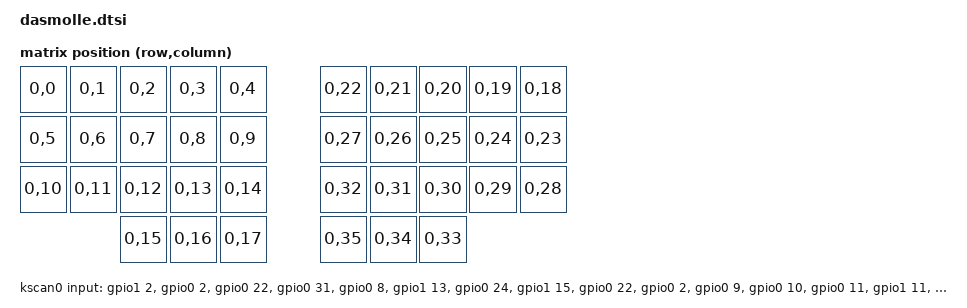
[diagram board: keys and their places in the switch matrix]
#include <dt-bindings/zmk/matrix_transform.h>

/ {

	chosen {
		zmk,kscan = &kscan0;
		zmk,matrix_transform = &default_transform;
	};

	default_transform: keymap_transform_0 {
		compatible = "zmk,matrix-transform";
		columns = <36>;
		rows = <1>;
		map = <
		RC(0,0)  RC(0,1)  RC(0,2)  RC(0,3)  RC(0,4)    RC(0,22) RC(0,21) RC(0,20) RC(0,19) RC(0,18) 
		RC(0,5)  RC(0,6)  RC(0,7)  RC(0,8)  RC(0,9)    RC(0,27) RC(0,26) RC(0,25) RC(0,24) RC(0,23) 
		RC(0,10) RC(0,11) RC(0,12) RC(0,13) RC(0,14)   RC(0,32) RC(0,31) RC(0,30) RC(0,29) RC(0,28) 
		                  RC(0,15) RC(0,16) RC(0,17)   RC(0,35) RC(0,34) RC(0,33)
		>;
	};

	// kscan0: kscan {
	// 	compatible = "zmk,kscan-gpio-direct";
	// 	label = "KSCAN";
	// 	input-gpios
	// 	= <&pro_micro  7 (GPIO_ACTIVE_LOW | GPIO_PULL_UP)>
	// 	, <&pro_micro 18 (GPIO_ACTIVE_LOW | GPIO_PULL_UP)>
	// 	, <&pro_micro 19 (GPIO_ACTIVE_LOW | GPIO_PULL_UP)>
	// 	, <&pro_micro 20 (GPIO_ACTIVE_LOW | GPIO_PULL_UP)>
	// 	, <&pro_micro 21 (GPIO_ACTIVE_LOW | GPIO_PULL_UP)>
	// 	, <&pro_micro 15 (GPIO_ACTIVE_LOW | GPIO_PULL_UP)>
	// 	, <&pro_micro 14 (GPIO_ACTIVE_LOW | GPIO_PULL_UP)>
	// 	, <&pro_micro 16 (GPIO_ACTIVE_LOW | GPIO_PULL_UP)>
	// 	, <&pro_micro 10 (GPIO_ACTIVE_LOW | GPIO_PULL_UP)>
	// 	, <&pro_micro  1 (GPIO_ACTIVE_LOW | GPIO_PULL_UP)>
	// 	, <&pro_micro  2 (GPIO_ACTIVE_LOW | GPIO_PULL_UP)>
	// 	, <&pro_micro  3 (GPIO_ACTIVE_LOW | GPIO_PULL_UP)>
	// 	, <&pro_micro  4 (GPIO_ACTIVE_LOW | GPIO_PULL_UP)>
	// 	, <&pro_micro  5 (GPIO_ACTIVE_LOW | GPIO_PULL_UP)>
	// 	, <&pro_micro  6 (GPIO_ACTIVE_LOW | GPIO_PULL_UP)>
	// 	, <&pro_micro  8 (GPIO_ACTIVE_LOW | GPIO_PULL_UP)>
	// 	, <&pro_micro  9 (GPIO_ACTIVE_LOW | GPIO_PULL_UP)>
	// 	;
	// };

  kscan0: kscan {
      compatible = "zmk,kscan-gpio-direct";
      label = "KSCAN";
      input-gpios = <
        /* Row 0 */
        &gpio1  2 (GPIO_ACTIVE_LOW | GPIO_PULL_UP)
        &gpio0  2 (GPIO_ACTIVE_LOW | GPIO_PULL_UP)
        &gpio0 22 (GPIO_ACTIVE_LOW | GPIO_PULL_UP)
        &gpio0 31 (GPIO_ACTIVE_LOW | GPIO_PULL_UP)
        &gpio0  8 (GPIO_ACTIVE_LOW | GPIO_PULL_UP)

        /* Row 1 */
        &gpio1 13 (GPIO_ACTIVE_LOW | GPIO_PULL_UP)
        &gpio0 24 (GPIO_ACTIVE_LOW | GPIO_PULL_UP)
        &gpio1 15 (GPIO_ACTIVE_LOW | GPIO_PULL_UP)
        &gpio0 22 (GPIO_ACTIVE_LOW | GPIO_PULL_UP)
        &gpio0  2 (GPIO_ACTIVE_LOW | GPIO_PULL_UP)

        /* Row 2 */
        &gpio0  9 (GPIO_ACTIVE_LOW | GPIO_PULL_UP)
        &gpio0 10 (GPIO_ACTIVE_LOW | GPIO_PULL_UP)
        &gpio0 11 (GPIO_ACTIVE_LOW | GPIO_PULL_UP)
        &gpio1 11 (GPIO_ACTIVE_LOW | GPIO_PULL_UP)
        &gpio1  0 (GPIO_ACTIVE_LOW | GPIO_PULL_UP)

        /* Row 3 */
        &gpio1  7 (GPIO_ACTIVE_LOW | GPIO_PULL_UP)
        &gpio1  6 (GPIO_ACTIVE_LOW | GPIO_PULL_UP)
        &gpio1  4 (GPIO_ACTIVE_LOW | GPIO_PULL_UP)
    >;
  };

};
